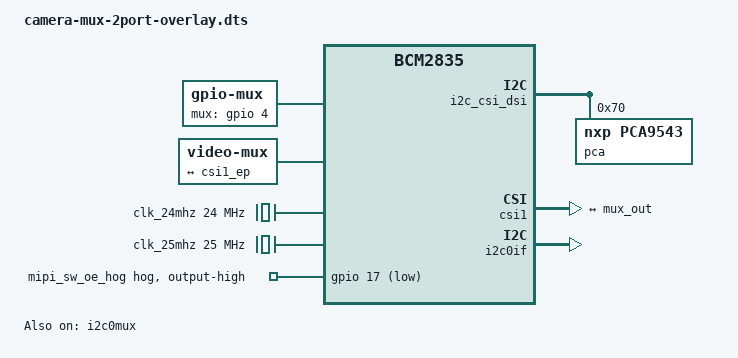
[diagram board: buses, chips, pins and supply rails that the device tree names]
// SPDX-License-Identifier: GPL-2.0-only
// Overlay to configure a 2 port camera multiplexer
//
// Configuration is based on the Arducam Doubleplexer
// which uses a PCA9543 I2C multiplexer to handle the
// I2C, and GPIO 4 to control the MIPI mux, and GPIO 17
// to enable the CSI-2 mux output (gpio-hog).

/dts-v1/;
/plugin/;

#include <dt-bindings/gpio/gpio.h>

/{
	compatible = "brcm,bcm2835";

	/* Fragments that complete the individual sensor fragments */
	/* IMX290 */
	fragment@0 {
		target = <&imx290_0_ep>;
		__overlay__ {
			data-lanes = <1 2>;
			link-frequencies =
				/bits/ 64 <445500000 297000000>;
		};
	};

	fragment@1 {
		target = <&imx290_1_ep>;
		__overlay__ {
			data-lanes = <1 2>;
			link-frequencies =
				/bits/ 64 <445500000 297000000>;
		};
	};

	/* IMX477 */
	fragment@10 {
		target = <&imx477_0>;
		__overlay__ {
			compatible = "sony,imx477";
		};
	};

	fragment@11 {
		target = <&imx477_1>;
		__overlay__ {
			compatible = "sony,imx477";
		};
	};

	/* Additional fragments affecting the mux nodes */
	fragment@100 {
		target = <&mux_in0>;
		__dormant__ {
			data-lanes = <1>;
		};
	};
	fragment@101 {
		target = <&mux_in0>;
		__overlay__ {
			data-lanes = <1 2>;
		};
	};

	fragment@102 {
		target = <&mux_in1>;
		__dormant__ {
			data-lanes = <1>;
		};
	};
	fragment@103 {
		target = <&mux_in1>;
		__overlay__ {
			data-lanes = <1 2>;
		};
	};

	/* Mux define */
	i2c_frag: fragment@200 {
		target = <&i2c_csi_dsi>;
		__overlay__ {
			#address-cells = <1>;
			#size-cells = <0>;
			status = "okay";

			pca@70 {
				reg = <0x70>;
				compatible = "nxp,pca9543";

				#address-cells = <1>;
				#size-cells = <0>;

				i2c@0 {
					reg = <0>;
					#address-cells = <1>;
					#size-cells = <0>;

					#define cam_node arducam_64mp_0
					#define cam_endpoint arducam_64mp_0_ep
					#define vcm_node arducam_64mp_0_vcm
					#define cam1_clk clk_24mhz
					#include "arducam-64mp.dtsi"
					#undef cam_node
					#undef cam_endpoint
					#undef vcm_node
					#undef cam1_clk

					#define cam_node imx219_0
					#define cam_endpoint imx219_0_ep
					#define cam1_clk clk_24mhz
					#include "imx219.dtsi"
					#undef cam_node
					#undef cam_endpoint
					#undef cam1_clk

					#define cam_node imx477_0
					#define cam_endpoint imx477_0_ep
					#define cam1_clk clk_24mhz
					#include "imx477_378.dtsi"
					#undef cam_node
					#undef cam_endpoint
					#undef cam1_clk

					#define cam_node imx519_0
					#define cam_endpoint imx519_0_ep
					#define vcm_node imx519_0_vcm
					#define cam1_clk clk_24mhz
					#include "imx519.dtsi"
					#undef cam_node
					#undef cam_endpoint
					#undef vcm_node
					#undef cam1_clk

					#define cam_node imx708_0
					#define cam_endpoint imx708_0_ep
					#define vcm_node imx708_0_vcm
					#define cam1_clk clk_24mhz
					#include "imx708.dtsi"
					#undef cam_node
					#undef cam_endpoint
					#undef vcm_node
					#undef cam1_clk

					#define cam_node ov5647_0
					#define cam_endpoint ov5647_0_ep
					#define cam1_clk clk_25mhz
					#include "ov5647.dtsi"
					#undef cam_node
					#undef cam_endpoint
					#undef cam1_clk

					#define cam_node ov7251_0
					#define cam_endpoint ov7251_0_ep
					#define cam1_clk clk_24mhz
					#include "ov7251.dtsi"
					#undef cam_node
					#undef cam_endpoint
					#undef cam1_clk

					#define cam_node ov9281_0
					#define cam_endpoint ov9281_0_ep
					#define cam1_clk clk_24mhz
					#include "ov9281.dtsi"
					#undef cam_node
					#undef cam_endpoint
					#undef cam1_clk

					#define cam_node imx258_0
					#define cam_endpoint imx258_0_ep
					#define cam1_clk clk_24mhz
					#include "imx258.dtsi"
					#undef cam_node
					#undef cam_endpoint
					#undef cam1_clk

					#define cam_node imx290_0
					#define cam_endpoint imx290_0_ep
					#define cam1_clk clk_imx290
					#include "imx290_327.dtsi"
					#undef cam_node
					#undef cam_endpoint
					#undef cam1_clk

					#define cam_node ov2311_0
					#define cam_endpoint ov2311_0_ep
					#define cam1_clk clk_24mhz
					#include "ov2311.dtsi"
					#undef cam_node
					#undef cam_endpoint
					#undef cam1_clk

					#define cam_node ov64a40_0
					#define cam_endpoint ov64a40_0_ep
					#define vcm_node ov64a40_0_vcm
					#define cam1_clk clk_24mhz
					#include "ov64a40.dtsi"
					#undef cam_node
					#undef cam_endpoint
					#undef vcm_node
					#undef cam1_clk
				};

				i2c@1 {
					reg = <1>;
					#address-cells = <1>;
					#size-cells = <0>;

					#define cam_node arducam_64mp_1
					#define cam_endpoint arducam_64mp_1_ep
					#define vcm_node arducam_64mp_1_vcm
					#define cam1_clk clk_24mhz
					#include "arducam-64mp.dtsi"
					#undef cam_node
					#undef cam_endpoint
					#undef vcm_node
					#undef cam1_clk

					#define cam_node imx219_1
					#define cam_endpoint imx219_1_ep
					#define cam1_clk clk_24mhz
					#include "imx219.dtsi"
					#undef cam_node
					#undef cam_endpoint
					#undef cam1_clk

					#define cam_node imx477_1
					#define cam_endpoint imx477_1_ep
					#define cam1_clk clk_24mhz
					#include "imx477_378.dtsi"
					#undef cam_node
					#undef cam_endpoint
					#undef cam1_clk

					#define cam_node imx519_1
					#define cam_endpoint imx519_1_ep
					#define vcm_node imx519_1_vcm
					#define cam1_clk clk_24mhz
					#include "imx519.dtsi"
					#undef cam_node
					#undef cam_endpoint
					#undef vcm_node
					#undef cam1_clk

					#define cam_node imx708_1
					#define cam_endpoint imx708_1_ep
					#define vcm_node imx708_1_vcm
					#define cam1_clk clk_24mhz
					#include "imx708.dtsi"
					#undef cam_node
					#undef cam_endpoint
					#undef vcm_node
					#undef cam1_clk

					#define cam_node ov5647_1
					#define cam_endpoint ov5647_1_ep
					#define cam1_clk clk_25mhz
					#include "ov5647.dtsi"
					#undef cam_node
					#undef cam_endpoint
					#undef cam1_clk

					#define cam_node ov7251_1
					#define cam_endpoint ov7251_1_ep
					#define cam1_clk clk_24mhz
					#include "ov7251.dtsi"
					#undef cam_node
					#undef cam_endpoint
					#undef cam1_clk

					#define cam_node ov9281_1
					#define cam_endpoint ov9281_1_ep
					#define cam1_clk clk_24mhz
					#include "ov9281.dtsi"
					#undef cam_node
					#undef cam_endpoint
					#undef cam1_clk

					#define cam_node imx258_1
					#define cam_endpoint imx258_1_ep
					#define cam1_clk clk_24mhz
					#include "imx258.dtsi"
					#undef cam_node
					#undef cam_endpoint
					#undef cam1_clk

					#define cam_node imx290_1
					#define cam_endpoint imx290_1_ep
					#define cam1_clk clk_imx290
					#include "imx290_327.dtsi"
					#undef cam_node
					#undef cam_endpoint
					#undef cam1_clk

					#define cam_node ov2311_1
					#define cam_endpoint ov2311_1_ep
					#define cam1_clk clk_24mhz
					#include "ov2311.dtsi"
					#undef cam_node
					#undef cam_endpoint
					#undef cam1_clk

					#define cam_node ov64a40_1
					#define cam_endpoint ov64a40_1_ep
					#define vcm_node ov64a40_1_vcm
					#define cam1_clk clk_24mhz
					#include "ov64a40.dtsi"
					#undef cam_node
					#undef cam_endpoint
					#undef vcm_node
					#undef cam1_clk
				};
			};
		};
	};

	csi_frag: fragment@201 {
		target = <&csi1>;
		__overlay__ {
			status = "okay";

			port {
				csi1_ep: endpoint {
					remote-endpoint = <&mux_out>;
					clock-lanes = <0>;
					data-lanes = <1 2>;
				};
			};
		};
	};

	fragment@202 {
		target = <&i2c0if>;
		__overlay__ {
			status = "okay";
		};
	};

	fragment@203 {
		target-path="/";
		__overlay__ {
			mux: mux-controller {
				compatible = "gpio-mux";
				#mux-control-cells = <0>;

				mux-gpios = <&gpio 4 GPIO_ACTIVE_HIGH>;
			};

			video-mux {
				compatible = "video-mux";
				mux-controls = <&mux>;
				#address-cells = <1>;
				#size-cells = <0>;

				port@0 {
					reg = <0>;

					mux_in0: endpoint {
						clock-lanes = <0>;
					};
				};

				port@1 {
					reg = <1>;

					mux_in1: endpoint {
						clock-lanes = <0>;
					};
				};

				port@2 {
					reg = <2>;

					mux_out: endpoint {
						remote-endpoint = <&csi1_ep>;
						clock-lanes = <0>;
					};
				};
			};

			clk_24mhz: clk_24mhz {
				compatible = "fixed-clock";
				#clock-cells = <0>;

				clock-frequency = <24000000>;
				status = "okay";
			};

			clk_25mhz: clk_25mhz {
				compatible = "fixed-clock";
				#clock-cells = <0>;

				clock-frequency = <25000000>;
				status = "okay";
			};

			clk_imx290: clk_imx290 {
				compatible = "fixed-clock";
				#clock-cells = <0>;

				clock-frequency = <37125000>;
				status = "okay";
			};
		};
	};

	fragment@204 {
		target = <&i2c0mux>;
		__overlay__ {
			status = "okay";
		};
	};

	fragment@205 {
		target = <&gpio>;
		__overlay__ {
			mipi_sw_oe_hog {
				gpio-hog;
				gpios = <17 GPIO_ACTIVE_LOW>;
				output-high;
			};
		};
	};

	__overrides__ {
		cam0-arducam-64mp = <&mux_in0>, "remote-endpoint:0=",<&arducam_64mp_0_ep>,
				    <&arducam_64mp_0_ep>, "remote-endpoint:0=",<&mux_in0>,
				    <&mux_in0>, "clock-noncontinuous?",
				    <&arducam_64mp_0>, "status=okay",
				    <&arducam_64mp_0_vcm>, "status=okay",
				    <&arducam_64mp_0>,"lens-focus:0=", <&arducam_64mp_0_vcm>;
		cam0-imx219 = <&mux_in0>, "remote-endpoint:0=",<&imx219_0_ep>,
			      <&imx219_0_ep>, "remote-endpoint:0=",<&mux_in0>,
			      <&mux_in0>, "clock-noncontinuous?",
			      <&imx219_0>, "status=okay";
		cam0-imx477 = <&mux_in0>, "remote-endpoint:0=",<&imx477_0_ep>,
			      <&imx477_0_ep>, "remote-endpoint:0=",<&mux_in0>,
			      <&mux_in0>, "clock-noncontinuous?",
			      <&imx477_0>, "status=okay";
		cam0-imx519 = <&mux_in0>, "remote-endpoint:0=",<&imx519_0_ep>,
			      <&imx519_0_ep>, "remote-endpoint:0=",<&mux_in0>,
			      <&mux_in0>, "clock-noncontinuous?",
			      <&imx519_0>, "status=okay",
				  <&imx519_0_vcm>, "status=okay",
			      <&imx519_0>,"lens-focus:0=", <&imx519_0_vcm>;
		cam0-imx708 = <&mux_in0>, "remote-endpoint:0=",<&imx708_0_ep>,
			      <&imx708_0_ep>, "remote-endpoint:0=",<&mux_in0>,
			      <&mux_in0>, "clock-noncontinuous?",
			      <&imx708_0>, "status=okay",
			      <&imx708_0_vcm>, "status=okay",
			      <&imx708_0>,"lens-focus:0=", <&imx708_0_vcm>;
		cam0-ov5647 = <&mux_in0>, "remote-endpoint:0=",<&ov5647_0_ep>,
			      <&ov5647_0_ep>, "remote-endpoint:0=",<&mux_in0>,
			      <&mux_in0>, "clock-noncontinuous?",
			      <&ov5647_0>, "status=okay";
		cam0-ov7251 = <&mux_in0>, "remote-endpoint:0=",<&ov7251_0_ep>,
			      <&ov7251_0_ep>, "remote-endpoint:0=",<&mux_in0>,
			      <&ov7251_0>, "status=okay",
			      <0>,"+100-101";
		cam0-ov9281 = <&mux_in0>, "remote-endpoint:0=",<&ov9281_0_ep>,
			      <&ov9281_0_ep>, "remote-endpoint:0=",<&mux_in0>,
			      <&ov9281_0>, "status=okay";
		cam0-imx258 = <&mux_in0>, "remote-endpoint:0=",<&imx258_0_ep>,
			      <&imx258_0_ep>, "remote-endpoint:0=",<&mux_in0>,
			      <&imx258_0>, "status=okay";
		cam0-imx290 = <&mux_in0>, "remote-endpoint:0=",<&imx290_0_ep>,
			      <&imx290_0_ep>, "remote-endpoint:0=",<&mux_in0>,
			      <&imx290_0>, "status=okay";
		cam0-ov2311 = <&mux_in0>, "remote-endpoint:0=",<&ov2311_0_ep>,
			      <&ov2311_0_ep>, "remote-endpoint:0=",<&mux_in0>,
			      <&ov2311_0>, "status=okay";
		cam0-ov64a40 = <&mux_in0>, "remote-endpoint:0=",<&ov64a40_0_ep>,
			      <&ov64a40_0_ep>, "remote-endpoint:0=",<&mux_in0>,
			      <&mux_in0>, "clock-noncontinuous?",
			      <&ov64a40_0>, "status=okay",
			      <&ov64a40_0_vcm>, "status=okay",
			      <&ov64a40_0>,"lens-focus:0=", <&ov64a40_0_vcm>;

		cam1-arducam-64mp = <&mux_in1>, "remote-endpoint:0=",<&arducam_64mp_1_ep>,
				    <&arducam_64mp_1_ep>, "remote-endpoint:0=",<&mux_in1>,
				    <&mux_in1>, "clock-noncontinuous?",
				    <&arducam_64mp_1>, "status=okay",
				    <&arducam_64mp_1_vcm>, "status=okay",
				    <&arducam_64mp_1>,"lens-focus:0=", <&arducam_64mp_1_vcm>;
		cam1-imx219 = <&mux_in1>, "remote-endpoint:0=",<&imx219_1_ep>,
			      <&imx219_1_ep>, "remote-endpoint:0=",<&mux_in1>,
			      <&mux_in1>, "clock-noncontinuous?",
			      <&imx219_1>, "status=okay";
		cam1-imx477 = <&mux_in1>, "remote-endpoint:0=",<&imx477_1_ep>,
			      <&imx477_1_ep>, "remote-endpoint:0=",<&mux_in1>,
			      <&mux_in1>, "clock-noncontinuous?",
			      <&imx477_1>, "status=okay";
		cam1-imx519 = <&mux_in1>, "remote-endpoint:0=",<&imx519_1_ep>,
			      <&imx519_1_ep>, "remote-endpoint:0=",<&mux_in1>,
			      <&mux_in1>, "clock-noncontinuous?",
			      <&imx519_1>, "status=okay",
			      <&imx519_1_vcm>, "status=okay",
			      <&imx519_1>,"lens-focus:0=", <&imx519_1_vcm>;
		cam1-imx708 = <&mux_in1>, "remote-endpoint:0=",<&imx708_1_ep>,
			      <&imx708_1_ep>, "remote-endpoint:0=",<&mux_in1>,
			      <&mux_in1>, "clock-noncontinuous?",
			      <&imx708_1>, "status=okay",
			      <&imx708_1_vcm>, "status=okay",
			      <&imx708_1>,"lens-focus:0=", <&imx708_1_vcm>;
		cam1-ov5647 = <&mux_in1>, "remote-endpoint:0=",<&ov5647_1_ep>,
			      <&ov5647_1_ep>, "remote-endpoint:0=",<&mux_in1>,
			      <&mux_in1>, "clock-noncontinuous?",
			      <&ov5647_1>, "status=okay";
		cam1-ov7251 = <&mux_in1>, "remote-endpoint:0=",<&ov7251_1_ep>,
			      <&ov7251_1_ep>, "remote-endpoint:0=",<&mux_in1>,
			      <&ov7251_1>, "status=okay",
			      <0>,"+102-103";
		cam1-ov9281 = <&mux_in1>, "remote-endpoint:0=",<&ov9281_1_ep>,
			      <&ov9281_1_ep>, "remote-endpoint:0=",<&mux_in1>,
			      <&ov9281_1>, "status=okay";
		cam1-imx258 = <&mux_in1>, "remote-endpoint:0=",<&imx258_1_ep>,
			      <&imx258_1_ep>, "remote-endpoint:0=",<&mux_in1>,
			      <&imx258_1>, "status=okay";
		cam1-imx290 = <&mux_in1>, "remote-endpoint:0=",<&imx290_1_ep>,
			      <&imx290_1_ep>, "remote-endpoint:0=",<&mux_in1>,
			      <&imx290_1>, "status=okay";
		cam1-ov2311 = <&mux_in1>, "remote-endpoint:0=",<&ov2311_1_ep>,
			      <&ov2311_1_ep>, "remote-endpoint:0=",<&mux_in1>,
			      <&ov2311_1>, "status=okay";
		cam1-ov64a40 = <&mux_in1>, "remote-endpoint:0=",<&ov64a40_1_ep>,
			      <&ov64a40_1_ep>, "remote-endpoint:0=",<&mux_in1>,
			      <&mux_in1>, "clock-noncontinuous?",
			      <&ov64a40_1>, "status=okay",
			      <&ov64a40_1_vcm>, "status=okay",
			      <&ov64a40_1>,"lens-focus:0=", <&ov64a40_1_vcm>;

		cam0-imx290-clk-freq = <&clk_imx290>,"clock-frequency:0",
				       <&imx290_0>,"clock-frequency:0";
		cam1-imx290-clk-freq = <&clk_imx290>,"clock-frequency:0",
				       <&imx290_1>,"clock-frequency:0";

		cam0 = <&i2c_frag>, "target:0=",<&i2c_csi_dsi0>,
		       <&csi_frag>, "target:0=",<&csi0>;

		cam0-sync-source = <&imx477_0>, "trigger-mode:0=1";
		cam0-sync-sink = <&imx477_0>, "trigger-mode:0=2";
		cam1-sync-source = <&imx477_1>, "trigger-mode:0=1";
		cam1-sync-sink = <&imx477_1>, "trigger-mode:0=2";
	};
};
